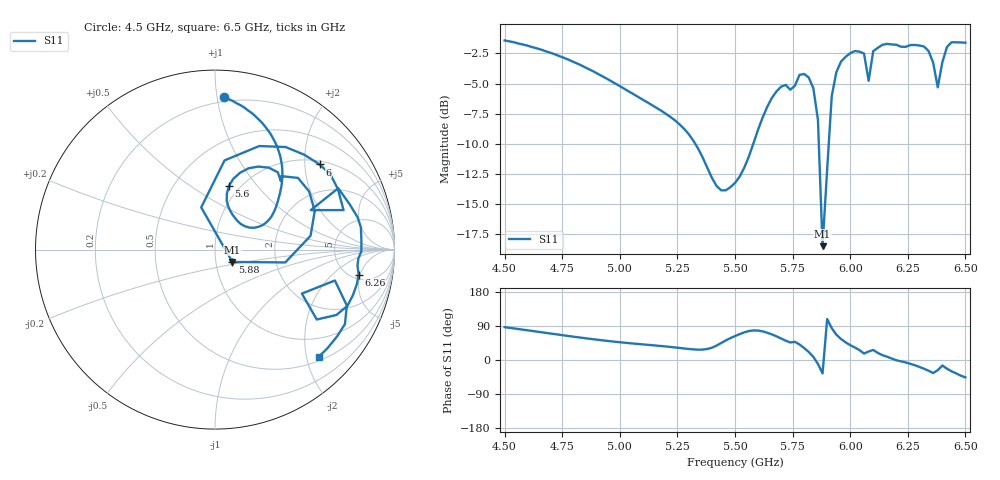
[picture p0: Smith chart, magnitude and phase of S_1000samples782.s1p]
! TOUCHSTONE file generated by CST MICROWAVE STUDIO
! Date and time: Sat Oct 29 08:54:45 2022
! Project name: L.cst
! Parameters = {Di=1.27; Epsilon_r=1.56; InnerDiameter=1.27; Length=2; Lf=10; Lg=60; OuterConductorThickness=0.2921; OuterDiameter=3.6; Wf=3; Wp=41.2; de=1.5; df=6.8; g=0.8; gx=2.53049; gy=4.09038; h=2.34; hf=1.524; px=14.7038; py=14.4578; w=9.7; wx=12.1733; wy=10.3674}
! Header version: 2018
! Port assignment regex: !\s*Touchstone port\s*([0-9]+)\s*=\s*(CST MWS port|CST DS port)\s*([0-9]+|Zmin|Zmax)\s*\(\"(.*)\"\)(\s*mode\s*([0-9]+))?.*
! Touchstone port assignment:
! Touchstone port 1 = CST MWS port 1 ("")
# GHz S DB R 50
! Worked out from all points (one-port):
!   101 points, 4.5 GHz to 6.5 GHz, reference 50 ohm
!   lowest |S11| = -18.5 dB at 5.88 GHz (marker M1), VSWR 1.27, Z = 60.1 - j8.39 ohm
!   |S11| at or under -10 dB: 5.327 GHz to 5.579 GHz (252.3 MHz wide, 4.63 % of centre); 5.864 GHz to 5.907 GHz (43.19 MHz wide, 0.734 % of centre)
!   S11 on the Smith chart (normalised r, x): 4.5 GHz: 0.17, +1.04; 5.6 GHz: 0.89, +0.72; 5.88 GHz: 1.20, -0.17; 6 GHz: 1.09, +2.38; 6.26 GHz: 5.74, -4.69; 6.5 GHz: 0.58, -2.23
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4.5  -1.42 86.7
4.76  -2.88 64.7
5  -5.21 46.9
5.26  -8.40 31.8
5.42  -13.50 38.0
5.5  -13.25 63.2
5.6  -8.84 77.7
5.68  -5.65 62.5
5.76  -5.18 48.0
5.8  -4.20 31.7
5.84  -5.38 8.2
5.86  -8.00 -10.4
5.88  -18.51 -35.4
5.9  -12.13 108.1
5.92  -6.03 83.9
5.96  -3.18 55.5
6  -2.48 39.1
6.06  -2.51 17.1
6.08  -4.77 22.4
6.1  -2.30 26.5
6.14  -1.78 12.7
6.26  -1.81 -9.9
6.32  -1.92 -23.0
6.36  -3.25 -34.5
6.38  -5.31 -26.9
6.4  -3.23 -14.4
6.44  -1.57 -29.9
6.5  -1.61 -45.9
